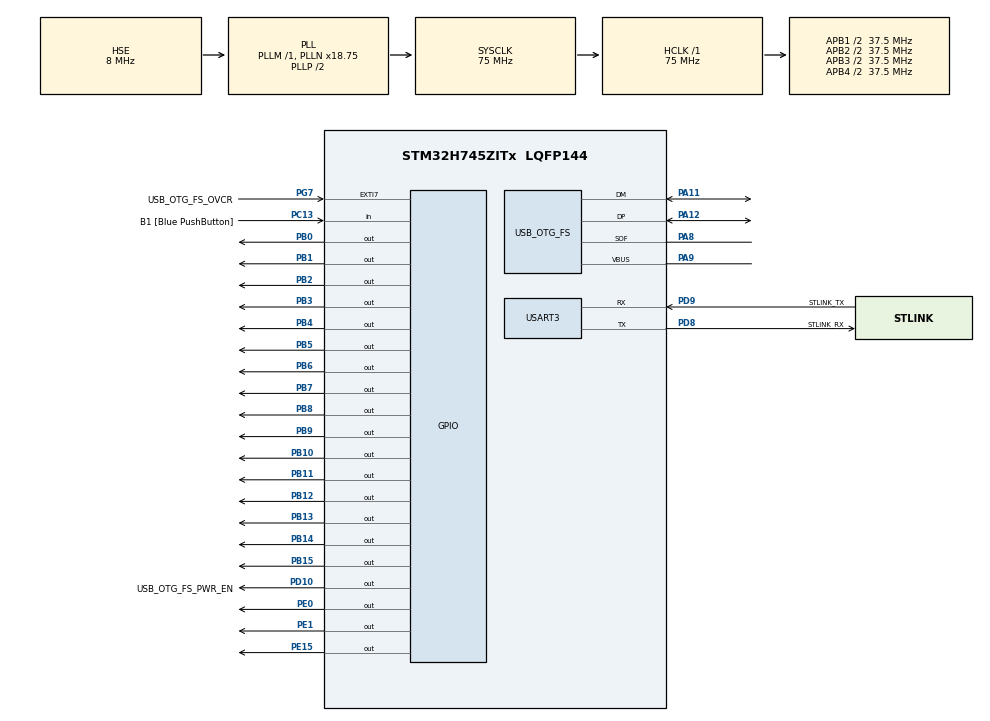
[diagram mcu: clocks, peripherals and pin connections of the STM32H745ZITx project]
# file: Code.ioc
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CortexM4.IPs=FATFS_M4\:I,FREERTOS_M4\:I,IWDG2\:I,RCC,WWDG2\:I,DMA,BDMA,MDMA,NVIC2\:I,USART3,ETH,DEBUG,USB_DEVICE_M4\:I,USB_HOST_M4\:I,PDM2PCM_M4\:I,PWR,RESMGR_UTILITY,SYS_M4\:I,CORTEX_M4\:I,OPENAMP_M4\:I,VREFBUF,GPIO
CortexM7.IPs=FATFS_M7\:I,FREERTOS_M7\:I,IWDG1\:I,RCC\:I,WWDG1\:I,DMA\:I,BDMA\:I,MDMA\:I,NVIC1\:I,SYS\:I,USART3\:I,USB_OTG_FS\:I,ETH\:I,CORTEX_M7\:I,DEBUG\:I,USB_DEVICE_M7\:I,USB_HOST_M7\:I,PDM2PCM_M7\:I,PWR\:I,RESMGR_UTILITY\:I,OPENAMP_M7\:I,VREFBUF\:I,GPIO\:I,TIM3\:I,TIM2\:I
CortexM7.Pins=PB0,PB1,PB2,PE15,PB10,PB11,PB12,PB13,PB14,PB15,PB3 (JTDO/TRACESWO),PB4 (NJTRST),PB5,PB6,PB7,PB8,PB9,PE0,PE1
Dma.Request0=TIM3_CH1
Dma.TIM3_CH1.0.Direction=DMA_MEMORY_TO_PERIPH
Dma.TIM3_CH1.0.EventEnable=DISABLE
Dma.TIM3_CH1.0.FIFOMode=DMA_FIFOMODE_DISABLE
Dma.TIM3_CH1.0.Instance=DMA1_Stream0
Dma.TIM3_CH1.0.MemDataAlignment=DMA_MDATAALIGN_HALFWORD
Dma.TIM3_CH1.0.MemInc=DMA_MINC_ENABLE
Dma.TIM3_CH1.0.Mode=DMA_NORMAL
Dma.TIM3_CH1.0.PeriphDataAlignment=DMA_PDATAALIGN_HALFWORD
Dma.TIM3_CH1.0.PeriphInc=DMA_PINC_DISABLE
Dma.TIM3_CH1.0.Polarity=HAL_DMAMUX_REQ_GEN_RISING
Dma.TIM3_CH1.0.Priority=DMA_PRIORITY_VERY_HIGH
Dma.TIM3_CH1.0.RequestNumber=1
Dma.TIM3_CH1.0.SignalID=NONE
Dma.TIM3_CH1.0.SyncEnable=ENABLE
Dma.TIM3_CH1.0.SyncPolarity=HAL_DMAMUX_SYNC_RISING
Dma.TIM3_CH1.0.SyncRequestNumber=1
Dma.TIM3_CH1.0.SyncSignalID=NONE
Mcu.Family=STM32H7
Mcu.Name=STM32H745ZITx
Mcu.Package=LQFP144
NVIC1.DMA1_Stream0_IRQn=true\:0\:0\:false\:false\:true\:false\:true\:true
NVIC1.PriorityGroup=NVIC_PRIORITYGROUP_4
NVIC1.TIM2_IRQn=true\:0\:0\:false\:false\:true\:true\:true\:true
NVIC2.PriorityGroup=NVIC_PRIORITYGROUP_4
PA1.PinAttribute=CortexM7
PA1.Signal=ETH_REF_CLK
PA11.Mode=Device_Only
PA11.PinAttribute=CortexM7
PA11.Signal=USB_OTG_FS_DM
PA12.Mode=Device_Only
PA12.PinAttribute=CortexM7
PA12.Signal=USB_OTG_FS_DP
PA2.PinAttribute=CortexM7
PA2.Signal=ETH_MDIO
PA7.PinAttribute=CortexM7
PA7.Signal=ETH_CRS_DV
PA8.Mode=Activate_SOF_FS
PA8.PinAttribute=CortexM7
PA8.Signal=USB_OTG_FS_SOF
PA9.Mode=Activate_VBUS
PA9.PinAttribute=CortexM7
PA9.Signal=USB_OTG_FS_VBUS
PB0.GPIO_ModeDefaultOutputPP=GPIO_MODE_OUTPUT_PP
PB0.GPIO_PuPd=GPIO_NOPULL
PB0.GPIO_Speed=GPIO_SPEED_FREQ_VERY_HIGH
PB0.PinAttribute=CortexM7
PB0.PinState=GPIO_PIN_SET
PB0.Signal=GPIO_Output
PB1.GPIO_ModeDefaultOutputPP=GPIO_MODE_OUTPUT_PP
PB1.GPIO_PuPd=GPIO_NOPULL
PB1.GPIO_Speed=GPIO_SPEED_FREQ_VERY_HIGH
PB1.PinAttribute=CortexM7
PB1.PinState=GPIO_PIN_SET
PB1.Signal=GPIO_Output
PB10.GPIO_ModeDefaultOutputPP=GPIO_MODE_OUTPUT_PP
PB10.GPIO_PuPd=GPIO_NOPULL
PB10.GPIO_Speed=GPIO_SPEED_FREQ_VERY_HIGH
PB10.PinAttribute=CortexM7
PB10.PinState=GPIO_PIN_SET
PB10.Signal=GPIO_Output
PB11.GPIO_ModeDefaultOutputPP=GPIO_MODE_OUTPUT_PP
PB11.GPIO_PuPd=GPIO_NOPULL
PB11.GPIO_Speed=GPIO_SPEED_FREQ_VERY_HIGH
PB11.PinAttribute=CortexM7
PB11.PinState=GPIO_PIN_SET
PB11.Signal=GPIO_Output
PB12.GPIO_ModeDefaultOutputPP=GPIO_MODE_OUTPUT_PP
PB12.GPIO_PuPd=GPIO_NOPULL
PB12.GPIO_Speed=GPIO_SPEED_FREQ_VERY_HIGH
PB12.PinAttribute=CortexM7
PB12.PinState=GPIO_PIN_SET
PB12.Signal=GPIO_Output
PB13.GPIO_ModeDefaultOutputPP=GPIO_MODE_OUTPUT_PP
PB13.GPIO_PuPd=GPIO_NOPULL
PB13.GPIO_Speed=GPIO_SPEED_FREQ_VERY_HIGH
PB13.PinAttribute=CortexM7
PB13.PinState=GPIO_PIN_SET
PB13.Signal=GPIO_Output
PB14.GPIO_ModeDefaultOutputPP=GPIO_MODE_OUTPUT_PP
PB14.GPIO_PuPd=GPIO_NOPULL
PB14.GPIO_Speed=GPIO_SPEED_FREQ_VERY_HIGH
PB14.PinAttribute=CortexM7
PB14.PinState=GPIO_PIN_SET
PB14.Signal=GPIO_Output
PB15.GPIO_ModeDefaultOutputPP=GPIO_MODE_OUTPUT_PP
PB15.GPIO_PuPd=GPIO_NOPULL
PB15.GPIO_Speed=GPIO_SPEED_FREQ_VERY_HIGH
PB15.PinAttribute=CortexM7
PB15.PinState=GPIO_PIN_SET
PB15.Signal=GPIO_Output
PB2.GPIO_ModeDefaultOutputPP=GPIO_MODE_OUTPUT_PP
PB2.GPIO_PuPd=GPIO_NOPULL
PB2.GPIO_Speed=GPIO_SPEED_FREQ_VERY_HIGH
PB2.PinAttribute=CortexM7
PB2.PinState=GPIO_PIN_SET
PB2.Signal=GPIO_Output
PB3\ (JTDO/TRACESWO).GPIO_ModeDefaultOutputPP=GPIO_MODE_OUTPUT_PP
PB3\ (JTDO/TRACESWO).GPIO_PuPd=GPIO_NOPULL
PB3\ (JTDO/TRACESWO).GPIO_Speed=GPIO_SPEED_FREQ_VERY_HIGH
PB3\ (JTDO/TRACESWO).PinAttribute=CortexM7
PB3\ (JTDO/TRACESWO).PinState=GPIO_PIN_SET
PB3\ (JTDO/TRACESWO).Signal=GPIO_Output
PB4\ (NJTRST).GPIO_ModeDefaultOutputPP=GPIO_MODE_OUTPUT_PP
PB4\ (NJTRST).GPIO_PuPd=GPIO_NOPULL
PB4\ (NJTRST).GPIO_Speed=GPIO_SPEED_FREQ_VERY_HIGH
PB4\ (NJTRST).PinAttribute=CortexM7
PB4\ (NJTRST).PinState=GPIO_PIN_SET
PB4\ (NJTRST).Signal=GPIO_Output
PB5.GPIO_ModeDefaultOutputPP=GPIO_MODE_OUTPUT_PP
PB5.GPIO_PuPd=GPIO_NOPULL
PB5.GPIO_Speed=GPIO_SPEED_FREQ_VERY_HIGH
PB5.PinAttribute=CortexM7
PB5.PinState=GPIO_PIN_SET
PB5.Signal=GPIO_Output
PB6.GPIO_ModeDefaultOutputPP=GPIO_MODE_OUTPUT_PP
PB6.GPIO_PuPd=GPIO_NOPULL
PB6.GPIO_Speed=GPIO_SPEED_FREQ_VERY_HIGH
PB6.PinAttribute=CortexM7
PB6.PinState=GPIO_PIN_SET
PB6.Signal=GPIO_Output
PB7.GPIO_ModeDefaultOutputPP=GPIO_MODE_OUTPUT_PP
PB7.GPIO_PuPd=GPIO_NOPULL
PB7.GPIO_Speed=GPIO_SPEED_FREQ_VERY_HIGH
PB7.PinAttribute=CortexM7
PB7.PinState=GPIO_PIN_SET
PB7.Signal=GPIO_Output
PB8.GPIO_ModeDefaultOutputPP=GPIO_MODE_OUTPUT_PP
PB8.GPIO_PuPd=GPIO_NOPULL
PB8.GPIO_Speed=GPIO_SPEED_FREQ_VERY_HIGH
PB8.PinAttribute=CortexM7
PB8.PinState=GPIO_PIN_SET
PB8.Signal=GPIO_Output
PB9.GPIO_ModeDefaultOutputPP=GPIO_MODE_OUTPUT_PP
PB9.GPIO_PuPd=GPIO_NOPULL
PB9.GPIO_Speed=GPIO_SPEED_FREQ_VERY_HIGH
PB9.PinAttribute=CortexM7
PB9.PinState=GPIO_PIN_SET
PB9.Signal=GPIO_Output
PC1.PinAttribute=CortexM7
PC1.Signal=ETH_MDC
PC13.GPIO_Label=B1 [Blue PushButton]
PC13.PinAttribute=Free
PC13.Signal=GPIO_Input
PC14-OSC32_IN\ (OSC32_IN).Mode=LSE-External-Oscillator
PC14-OSC32_IN\ (OSC32_IN).PinAttribute=CortexM7
PC14-OSC32_IN\ (OSC32_IN).Signal=RCC_OSC32_IN
PC15-OSC32_OUT\ (OSC32_OUT).Mode=LSE-External-Oscillator
PC15-OSC32_OUT\ (OSC32_OUT).PinAttribute=CortexM7
PC15-OSC32_OUT\ (OSC32_OUT).Signal=RCC_OSC32_OUT
PC4.PinAttribute=CortexM7
PC4.Signal=ETH_RXD0
PC5.PinAttribute=CortexM7
PC5.Signal=ETH_RXD1
PD10.GPIO_Label=USB_OTG_FS_PWR_EN
PD10.PinAttribute=Free
PD10.Signal=GPIO_Output
PD8.GPIO_Label=STLINK_RX
PD8.Mode=Asynchronous
PD8.PinAttribute=CortexM7
PD8.Signal=USART3_TX
PD9.GPIO_Label=STLINK_TX
PD9.Mode=Asynchronous
PD9.PinAttribute=CortexM7
PD9.Signal=USART3_RX
PE0.GPIO_ModeDefaultOutputPP=GPIO_MODE_OUTPUT_PP
PE0.GPIO_Speed=GPIO_SPEED_FREQ_VERY_HIGH
PE0.PinAttribute=CortexM7
PE0.PinState=GPIO_PIN_SET
PE0.Signal=GPIO_Output
PE1.GPIO_ModeDefaultOutputPP=GPIO_MODE_OUTPUT_PP
PE1.GPIO_PuPd=GPIO_NOPULL
PE1.GPIO_Speed=GPIO_SPEED_FREQ_VERY_HIGH
PE1.PinAttribute=CortexM7
PE1.PinState=GPIO_PIN_SET
PE1.Signal=GPIO_Output
PE15.GPIO_Speed=GPIO_SPEED_FREQ_VERY_HIGH
PE15.PinAttribute=CortexM7
PE15.PinState=GPIO_PIN_SET
PE15.Signal=GPIO_Output
PG11.PinAttribute=CortexM7
PG11.Signal=ETH_TX_EN
PG13.PinAttribute=CortexM7
PG13.Signal=ETH_TXD0
PG7.GPIO_Label=USB_OTG_FS_OVCR
PG7.PinAttribute=Free
PG7.Signal=GPXTI7
PH0-OSC_IN\ (PH0).Mode=HSE-External-Clock-Source
PH0-OSC_IN\ (PH0).PinAttribute=CortexM7
PH0-OSC_IN\ (PH0).Signal=RCC_OSC_IN
PH1-OSC_OUT\ (PH1).PinAttribute=CortexM7
PH1-OSC_OUT\ (PH1).Signal=RCC_OSC_OUT
ProjectManager.HeapSize=M4-0x200,M7-0x200
ProjectManager.StackSize=M4-0x400,M7-0x400
ProjectManager.TargetToolchain=STM32CubeIDE
RCC.ADCFreq_Value=16125000
RCC.APB1Freq_Value=37500000
RCC.APB2Freq_Value=37500000
RCC.APB3Freq_Value=37500000
RCC.APB4Freq_Value=37500000
RCC.CortexFreq_Value=75000000
RCC.D1PPRE=RCC_APB3_DIV2
RCC.D2PPRE1=RCC_APB1_DIV2
RCC.D2PPRE2=RCC_APB2_DIV2
RCC.D3PPRE=RCC_APB4_DIV2
RCC.DIVM1=1
RCC.DIVM3=1
RCC.DIVN1=18
RCC.DIVN3=18
RCC.DIVQ3=3
RCC.HCLKFreq_Value=75000000
RCC.HSE_VALUE=8000000
RCC.PLL2FRACN=0
RCC.PLL3FRACN=6144
RCC.PLLFRACN=6144
RCC.SYSCLKFreq_VALUE=75000000
RCC.SYSCLKSource=RCC_SYSCLKSOURCE_PLLCLK
RCC.SupplySource=PWR_DIRECT_SMPS_SUPPLY
RCC.USBCLockSelection=RCC_USBCLKSOURCE_PLL3
RCC.USBFreq_Value=50000000
TIM2.AutoReloadPreload=TIM_AUTORELOAD_PRELOAD_ENABLE
TIM2.Period=1
TIM2.Prescaler=0
TIM3.AutoReloadPreload=TIM_AUTORELOAD_PRELOAD_ENABLE
TIM3.Channel-Output\ Compare1\ No\ Output=TIM_CHANNEL_1
TIM3.OCMode_1=TIM_OCMODE_TIMING
TIM3.Period=5
TIM3.Prescaler=0
USART3.VirtualMode-Asynchronous=VM_ASYNC
USB_OTG_FS.VirtualMode=Device_Only
VP_SYS_M4_VS_Systick.Mode=SysTick
VP_TIM2_VS_ClockSourceINT.Mode=Internal
VP_TIM3_VS_ClockSourceINT.Mode=Internal
VP_TIM3_VS_no_output1.Mode=Output Compare1 No Output
board=NUCLEO-H745ZI-Q

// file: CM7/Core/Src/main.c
/* USER CODE BEGIN Header */
/**
  ******************************************************************************
  * @file           : main.c
  * @brief          : Main program body
  ******************************************************************************
  * @attention
  *
  * Copyright (c) 2024 STMicroelectronics.
  * All rights reserved.
  *
  * This software is licensed under terms that can be found in the LICENSE file
  * in the root directory of this software component.
  * If no LICENSE file comes with this software, it is provided AS-IS.
  *
  ******************************************************************************
  */
/* USER CODE END Header */
#include "main.h"

/* USER CODE BEGIN PD */

#ifndef HSEM_ID_0
#define HSEM_ID_0 (0U) /* HW semaphore 0*/
#endif

/* USER CODE END PD */

TIM_HandleTypeDef htim2;
TIM_HandleTypeDef htim3;
DMA_HandleTypeDef hdma_tim3_ch1;

UART_HandleTypeDef huart3;

PCD_HandleTypeDef hpcd_USB_OTG_FS;

/* USER CODE BEGIN PV */
uint16_t test_frame[] = {0,1,2,3,4,5,6,7,8,9,10,11,12,13,14,15,0};
uint32_t pulse_sequence[3] = {0,0,0};
uint16_t pulse_iter = 0;
/* USER CODE END PV */

void SystemClock_Config(void);
static void MX_GPIO_Init(void);
static void MX_DMA_Init(void);
static void MX_USB_OTG_FS_PCD_Init(void);
static void MX_TIM3_Init(void);
static void MX_USART3_UART_Init(void);
static void MX_TIM2_Init(void);
/* USER CODE BEGIN PFP */
void endof_scan_line(DMA_HandleTypeDef* _hdma);
void start_Hsync_Sequence();
void start_Vsync_Sequence();
/* USER CODE END PFP */

int main(void)
{
/* USER CODE BEGIN Boot_Mode_Sequence_0 */
  int32_t timeout;
/* USER CODE END Boot_Mode_Sequence_0 */

/* USER CODE BEGIN Boot_Mode_Sequence_1 */
  /* Wait until CPU2 boots and enters in stop mode or timeout*/
  timeout = 0xFFFF;
  while((__HAL_RCC_GET_FLAG(RCC_FLAG_D2CKRDY) != RESET) && (timeout-- > 0));
  if ( timeout < 0 )
  {
  Error_Handler();
  }
/* USER CODE END Boot_Mode_Sequence_1 */
  /* MCU Configuration--------------------------------------------------------*/

  /* Reset of all peripherals, Initializes the Flash interface and the Systick. */
  HAL_Init();

  /* Configure the system clock */
  SystemClock_Config();
/* USER CODE BEGIN Boot_Mode_Sequence_2 */
/* When system initialization is finished, Cortex-M7 will release Cortex-M4 by means of
HSEM notification */
/*HW semaphore Clock enable*/
__HAL_RCC_HSEM_CLK_ENABLE();
/*Take HSEM */
HAL_HSEM_FastTake(HSEM_ID_0);
/*Release HSEM in order to notify the CPU2(CM4)*/
HAL_HSEM_Release(HSEM_ID_0,0);
/* wait until CPU2 wakes up from stop mode */
timeout = 0xFFFF;
while((__HAL_RCC_GET_FLAG(RCC_FLAG_D2CKRDY) == RESET) && (timeout-- > 0));
if ( timeout < 0 )
{
Error_Handler();
}
/* USER CODE END Boot_Mode_Sequence_2 */

  /* Initialize all configured peripherals */
  MX_GPIO_Init();
  MX_DMA_Init();
  MX_USB_OTG_FS_PCD_Init();
  MX_TIM3_Init();
  MX_USART3_UART_Init();
  MX_TIM2_Init();
  /* USER CODE BEGIN 2 */

  GPIOB->ODR = 0x00;
  HAL_Delay(500);
  HAL_TIM_Base_Start(&htim3);
  HAL_TIM_OC_Start(&htim3, TIM_CHANNEL_1);
  hdma_tim3_ch1.XferCpltCallback = endof_scan_line;

  HAL_DMA_Start_IT(&hdma_tim3_ch1, (uint32_t)test_frame, (uint32_t) &GPIOB->ODR, 15);
  __HAL_TIM_ENABLE_DMA(&htim3, TIM_DMA_CC1);
//
//
//  HAL_Delay(2000);
//

  /* USER CODE END 2 */

  /* Infinite loop */
  while (1)
  {

    /* USER CODE BEGIN 3 */

//	  HAL_DMA_Start_IT(&hdma_tim3_ch1, (uint32_t)test_frame, (uint32_t) &GPIOB->ODR, 16);
//	  __HAL_TIM_ENABLE_DMA(&htim3, TIM_DMA_CC1);
//
//	  HAL_Delay(200);
//
//	  start_Hsync_Sequence();
//
//	  HAL_Delay(200);

//	  start_Hsync_Sequence();
//
//	  HAL_Delay(200);

  }
  /* USER CODE END 3 */
}

void SystemClock_Config(void)
{
  RCC_OscInitTypeDef RCC_OscInitStruct = {0};
  RCC_ClkInitTypeDef RCC_ClkInitStruct = {0};

  /** Supply configuration update enable
  */
  HAL_PWREx_ConfigSupply(PWR_DIRECT_SMPS_SUPPLY);

  /** Configure the main internal regulator output voltage
  */
  __HAL_PWR_VOLTAGESCALING_CONFIG(PWR_REGULATOR_VOLTAGE_SCALE3);

  while(!__HAL_PWR_GET_FLAG(PWR_FLAG_VOSRDY)) {}

  /** Initializes the RCC Oscillators according to the specified parameters
  * in the RCC_OscInitTypeDef structure.
  */
  RCC_OscInitStruct.OscillatorType = RCC_OSCILLATORTYPE_HSE;
  RCC_OscInitStruct.HSEState = RCC_HSE_BYPASS;
  RCC_OscInitStruct.PLL.PLLState = RCC_PLL_ON;
  RCC_OscInitStruct.PLL.PLLSource = RCC_PLLSOURCE_HSE;
  RCC_OscInitStruct.PLL.PLLM = 1;
  RCC_OscInitStruct.PLL.PLLN = 18;
  RCC_OscInitStruct.PLL.PLLP = 2;
  RCC_OscInitStruct.PLL.PLLQ = 2;
  RCC_OscInitStruct.PLL.PLLR = 2;
  RCC_OscInitStruct.PLL.PLLRGE = RCC_PLL1VCIRANGE_3;
  RCC_OscInitStruct.PLL.PLLVCOSEL = RCC_PLL1VCOMEDIUM;
  RCC_OscInitStruct.PLL.PLLFRACN = 6144;
  if (HAL_RCC_OscConfig(&RCC_OscInitStruct) != HAL_OK)
  {
    Error_Handler();
  }

  /** Initializes the CPU, AHB and APB buses clocks
  */
  RCC_ClkInitStruct.ClockType = RCC_CLOCKTYPE_HCLK|RCC_CLOCKTYPE_SYSCLK
                              |RCC_CLOCKTYPE_PCLK1|RCC_CLOCKTYPE_PCLK2
                              |RCC_CLOCKTYPE_D3PCLK1|RCC_CLOCKTYPE_D1PCLK1;
  RCC_ClkInitStruct.SYSCLKSource = RCC_SYSCLKSOURCE_PLLCLK;
  RCC_ClkInitStruct.SYSCLKDivider = RCC_SYSCLK_DIV1;
  RCC_ClkInitStruct.AHBCLKDivider = RCC_HCLK_DIV1;
  RCC_ClkInitStruct.APB3CLKDivider = RCC_APB3_DIV2;
  RCC_ClkInitStruct.APB1CLKDivider = RCC_APB1_DIV2;
  RCC_ClkInitStruct.APB2CLKDivider = RCC_APB2_DIV2;
  RCC_ClkInitStruct.APB4CLKDivider = RCC_APB4_DIV2;

  if (HAL_RCC_ClockConfig(&RCC_ClkInitStruct, FLASH_LATENCY_1) != HAL_OK)
  {
    Error_Handler();
  }
}

static void MX_TIM2_Init(void)
{

  TIM_ClockConfigTypeDef sClockSourceConfig = {0};
  TIM_MasterConfigTypeDef sMasterConfig = {0};

  htim2.Instance = TIM2;
  htim2.Init.Prescaler = 0;
  htim2.Init.CounterMode = TIM_COUNTERMODE_UP;
  htim2.Init.Period = 1;
  htim2.Init.ClockDivision = TIM_CLOCKDIVISION_DIV1;
  htim2.Init.AutoReloadPreload = TIM_AUTORELOAD_PRELOAD_ENABLE;
  if (HAL_TIM_Base_Init(&htim2) != HAL_OK)
  {
    Error_Handler();
  }
  sClockSourceConfig.ClockSource = TIM_CLOCKSOURCE_INTERNAL;
  if (HAL_TIM_ConfigClockSource(&htim2, &sClockSourceConfig) != HAL_OK)
  {
    Error_Handler();
  }
  sMasterConfig.MasterOutputTrigger = TIM_TRGO_RESET;
  sMasterConfig.MasterSlaveMode = TIM_MASTERSLAVEMODE_DISABLE;
  if (HAL_TIMEx_MasterConfigSynchronization(&htim2, &sMasterConfig) != HAL_OK)
  {
    Error_Handler();
  }

}

static void MX_TIM3_Init(void)
{

  TIM_ClockConfigTypeDef sClockSourceConfig = {0};
  TIM_MasterConfigTypeDef sMasterConfig = {0};
  TIM_OC_InitTypeDef sConfigOC = {0};

  htim3.Instance = TIM3;
  htim3.Init.Prescaler = 0;
  htim3.Init.CounterMode = TIM_COUNTERMODE_UP;
  htim3.Init.Period = 5;
  htim3.Init.ClockDivision = TIM_CLOCKDIVISION_DIV1;
  htim3.Init.AutoReloadPreload = TIM_AUTORELOAD_PRELOAD_ENABLE;
  if (HAL_TIM_Base_Init(&htim3) != HAL_OK)
  {
    Error_Handler();
  }
  sClockSourceConfig.ClockSource = TIM_CLOCKSOURCE_INTERNAL;
  if (HAL_TIM_ConfigClockSource(&htim3, &sClockSourceConfig) != HAL_OK)
  {
    Error_Handler();
  }
  if (HAL_TIM_OC_Init(&htim3) != HAL_OK)
  {
    Error_Handler();
  }
  sMasterConfig.MasterOutputTrigger = TIM_TRGO_RESET;
  sMasterConfig.MasterSlaveMode = TIM_MASTERSLAVEMODE_DISABLE;
  if (HAL_TIMEx_MasterConfigSynchronization(&htim3, &sMasterConfig) != HAL_OK)
  {
    Error_Handler();
  }
  sConfigOC.OCMode = TIM_OCMODE_TIMING;
  sConfigOC.Pulse = 0;
  sConfigOC.OCPolarity = TIM_OCPOLARITY_HIGH;
  sConfigOC.OCFastMode = TIM_OCFAST_DISABLE;
  if (HAL_TIM_OC_ConfigChannel(&htim3, &sConfigOC, TIM_CHANNEL_1) != HAL_OK)
  {
    Error_Handler();
  }

}

static void MX_USART3_UART_Init(void)
{

  huart3.Instance = USART3;
  huart3.Init.BaudRate = 115200;
  huart3.Init.WordLength = UART_WORDLENGTH_8B;
  huart3.Init.StopBits = UART_STOPBITS_1;
  huart3.Init.Parity = UART_PARITY_NONE;
  huart3.Init.Mode = UART_MODE_TX_RX;
  huart3.Init.HwFlowCtl = UART_HWCONTROL_NONE;
  huart3.Init.OverSampling = UART_OVERSAMPLING_16;
  huart3.Init.OneBitSampling = UART_ONE_BIT_SAMPLE_DISABLE;
  huart3.Init.ClockPrescaler = UART_PRESCALER_DIV1;
  huart3.AdvancedInit.AdvFeatureInit = UART_ADVFEATURE_NO_INIT;
  if (HAL_UART_Init(&huart3) != HAL_OK)
  {
    Error_Handler();
  }
  if (HAL_UARTEx_SetTxFifoThreshold(&huart3, UART_TXFIFO_THRESHOLD_1_8) != HAL_OK)
  {
    Error_Handler();
  }
  if (HAL_UARTEx_SetRxFifoThreshold(&huart3, UART_RXFIFO_THRESHOLD_1_8) != HAL_OK)
  {
    Error_Handler();
  }
  if (HAL_UARTEx_DisableFifoMode(&huart3) != HAL_OK)
  {
    Error_Handler();
  }

}

static void MX_USB_OTG_FS_PCD_Init(void)
{

  hpcd_USB_OTG_FS.Instance = USB_OTG_FS;
  hpcd_USB_OTG_FS.Init.dev_endpoints = 9;
  hpcd_USB_OTG_FS.Init.speed = PCD_SPEED_FULL;
  hpcd_USB_OTG_FS.Init.dma_enable = DISABLE;
  hpcd_USB_OTG_FS.Init.phy_itface = PCD_PHY_EMBEDDED;
  hpcd_USB_OTG_FS.Init.Sof_enable = DISABLE;
  hpcd_USB_OTG_FS.Init.low_power_enable = DISABLE;
  hpcd_USB_OTG_FS.Init.lpm_enable = DISABLE;
  hpcd_USB_OTG_FS.Init.battery_charging_enable = ENABLE;
  hpcd_USB_OTG_FS.Init.vbus_sensing_enable = ENABLE;
  hpcd_USB_OTG_FS.Init.use_dedicated_ep1 = DISABLE;
  if (HAL_PCD_Init(&hpcd_USB_OTG_FS) != HAL_OK)
  {
    Error_Handler();
  }

}

static void MX_DMA_Init(void)
{

  /* DMA controller clock enable */
  __HAL_RCC_DMA1_CLK_ENABLE();

  /* DMA interrupt init */
  /* DMA1_Stream0_IRQn interrupt configuration */
  HAL_NVIC_SetPriority(DMA1_Stream0_IRQn, 0, 0);
  HAL_NVIC_EnableIRQ(DMA1_Stream0_IRQn);

}

static void MX_GPIO_Init(void)
{
  GPIO_InitTypeDef GPIO_InitStruct = {0};

  /* GPIO Ports Clock Enable */
  __HAL_RCC_GPIOC_CLK_ENABLE();
  __HAL_RCC_GPIOH_CLK_ENABLE();
  __HAL_RCC_GPIOA_CLK_ENABLE();
  __HAL_RCC_GPIOB_CLK_ENABLE();
  __HAL_RCC_GPIOE_CLK_ENABLE();
  __HAL_RCC_GPIOD_CLK_ENABLE();
  __HAL_RCC_GPIOG_CLK_ENABLE();

  /*Configure GPIO pin Output Level */
  HAL_GPIO_WritePin(GPIOB, GPIO_PIN_0|GPIO_PIN_1|GPIO_PIN_2|GPIO_PIN_10
                          |GPIO_PIN_11|GPIO_PIN_12|GPIO_PIN_13|GPIO_PIN_14
                          |GPIO_PIN_15|GPIO_PIN_3|GPIO_PIN_4|GPIO_PIN_5
                          |GPIO_PIN_6|GPIO_PIN_7|GPIO_PIN_8|GPIO_PIN_9, GPIO_PIN_SET);

  /*Configure GPIO pin Output Level */
  HAL_GPIO_WritePin(GPIOE, GPIO_PIN_15|GPIO_PIN_0|GPIO_PIN_1, GPIO_PIN_SET);

  /*Configure GPIO pins : PC1 PC4 PC5 */
  GPIO_InitStruct.Pin = GPIO_PIN_1|GPIO_PIN_4|GPIO_PIN_5;
  GPIO_InitStruct.Mode = GPIO_MODE_AF_PP;
  GPIO_InitStruct.Pull = GPIO_NOPULL;
  GPIO_InitStruct.Speed = GPIO_SPEED_FREQ_LOW;
  GPIO_InitStruct.Alternate = GPIO_AF11_ETH;
  HAL_GPIO_Init(GPIOC, &GPIO_InitStruct);

  /*Configure GPIO pins : PA1 PA2 PA7 */
  GPIO_InitStruct.Pin = GPIO_PIN_1|GPIO_PIN_2|GPIO_PIN_7;
  GPIO_InitStruct.Mode = GPIO_MODE_AF_PP;
  GPIO_InitStruct.Pull = GPIO_NOPULL;
  GPIO_InitStruct.Speed = GPIO_SPEED_FREQ_LOW;
  GPIO_InitStruct.Alternate = GPIO_AF11_ETH;
  HAL_GPIO_Init(GPIOA, &GPIO_InitStruct);

  /*Configure GPIO pins : PB0 PB1 PB2 PB10
                           PB11 PB12 PB13 PB14
                           PB15 PB3 PB4 PB5
                           PB6 PB7 PB8 PB9 */
  GPIO_InitStruct.Pin = GPIO_PIN_0|GPIO_PIN_1|GPIO_PIN_2|GPIO_PIN_10
                          |GPIO_PIN_11|GPIO_PIN_12|GPIO_PIN_13|GPIO_PIN_14
                          |GPIO_PIN_15|GPIO_PIN_3|GPIO_PIN_4|GPIO_PIN_5
                          |GPIO_PIN_6|GPIO_PIN_7|GPIO_PIN_8|GPIO_PIN_9;
  GPIO_InitStruct.Mode = GPIO_MODE_OUTPUT_PP;
  GPIO_InitStruct.Pull = GPIO_NOPULL;
  GPIO_InitStruct.Speed = GPIO_SPEED_FREQ_VERY_HIGH;
  HAL_GPIO_Init(GPIOB, &GPIO_InitStruct);

  /*Configure GPIO pins : PE15 PE0 PE1 */
  GPIO_InitStruct.Pin = GPIO_PIN_15|GPIO_PIN_0|GPIO_PIN_1;
  GPIO_InitStruct.Mode = GPIO_MODE_OUTPUT_PP;
  GPIO_InitStruct.Pull = GPIO_NOPULL;
  GPIO_InitStruct.Speed = GPIO_SPEED_FREQ_VERY_HIGH;
  HAL_GPIO_Init(GPIOE, &GPIO_InitStruct);

  /*Configure GPIO pins : PG11 PG13 */
  GPIO_InitStruct.Pin = GPIO_PIN_11|GPIO_PIN_13;
  GPIO_InitStruct.Mode = GPIO_MODE_AF_PP;
  GPIO_InitStruct.Pull = GPIO_NOPULL;
  GPIO_InitStruct.Speed = GPIO_SPEED_FREQ_LOW;
  GPIO_InitStruct.Alternate = GPIO_AF11_ETH;
  HAL_GPIO_Init(GPIOG, &GPIO_InitStruct);

}

/* USER CODE BEGIN 4 */
void endof_scan_line(DMA_HandleTypeDef* _hdma){

	GPIOB->ODR = 0x00;
	__HAL_DMA_CLEAR_FLAG(&hdma_tim3_ch1, DMA_FLAG_TCIF0_4);

	// Setup for Hsync sequence
//	start_Hsync_Sequence();
	pulse_iter = 0;
	HAL_TIM_Base_Start_IT(&htim2);
	return;
}

void start_Hsync_Sequence(){

	// Choose pulse sequence
	pulse_iter = 0;

	// Run the timer
	HAL_TIM_Base_Start_IT(&htim2);

}

void start_Vsync_Sequence(){

	// Choose pulse sequence
	pulse_iter = 0x10;

	HAL_TIM_Base_Start_IT(&htim2);
}

void HAL_TIM_PeriodElapsedCallback(TIM_HandleTypeDef* htim){

	if(htim == &htim2){

		if (pulse_iter == 0x00){
			GPIOE->ODR = 0x8001;
//			TIM2->ARR = 45;
			TIM2->ARR = 39;
		}
		else if (pulse_iter == 0x01){
			GPIOE->ODR = 0x8001;
			TIM2->ARR = 285;
		}
		else if (pulse_iter == 0x02){

			GPIOE->ODR = 0x0001;
			TIM2->ARR = 143;
		}
		else if (pulse_iter == 0x03){

			GPIOE->ODR = 0x8001;
			TIM2->ARR = 1;
		}

		else if (pulse_iter == 0x10){
			GPIOE->ODR = 0x8001;
			TIM2->ARR = 23827;
		}
		else if (pulse_iter == 0x11){
			GPIOE->ODR = 0x8001;
			TIM2->ARR = 4751;
		}
		else if (pulse_iter == 0x12){
			GPIOE->ODR = 0x8000;
//			TIM2->ARR = 78675;
			TIM2->ARR = 79599;
		}
		else if (pulse_iter == 0x13){
			GPIOE->ODR = 0x8001;
			TIM2->ARR = 1;

		}

		else{
			HAL_TIM_Base_Stop_IT(&htim2);

		}

//		TIM2->ARR = pulse_sequence[pulse_iter];
		pulse_iter++;

	}

}
/* USER CODE END 4 */

void Error_Handler(void)
{
  __disable_irq();
  while (1)
  {
  }
}
